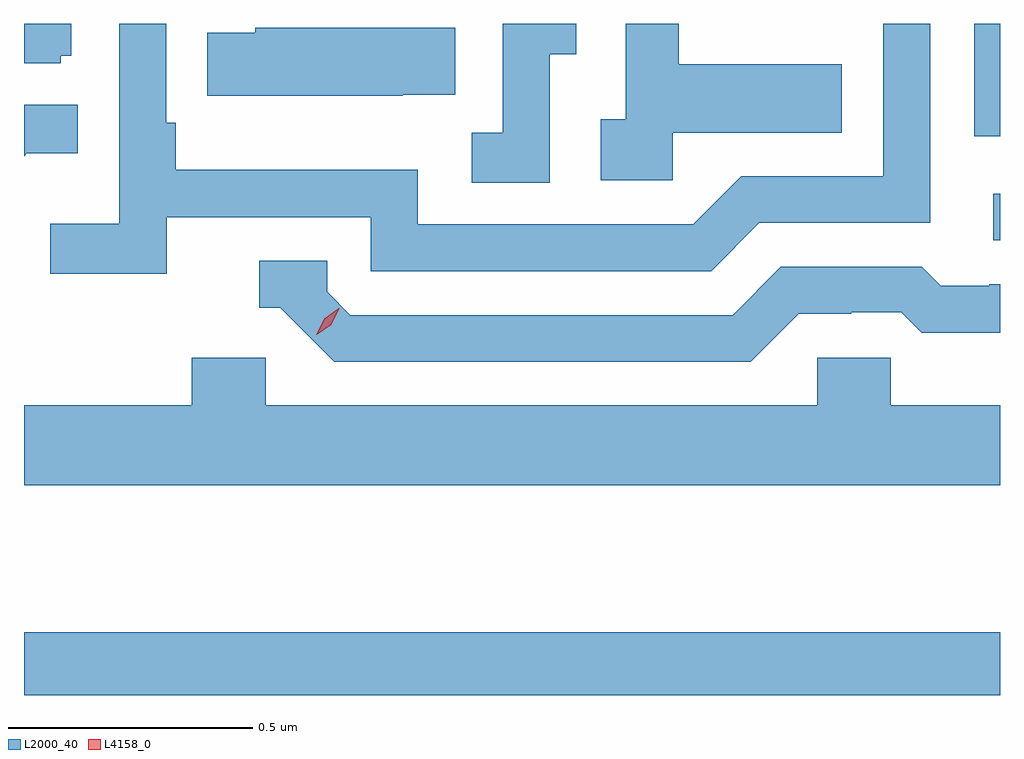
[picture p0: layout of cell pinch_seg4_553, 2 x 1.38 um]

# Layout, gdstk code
import gdstk
lib = gdstk.Library(unit=1e-6, precision=1e-09)
def R(c, l, rs):  # rectangles x0, y0, x1, y1
    for r in rs: c.add(gdstk.rectangle(r[:2], r[2:], *l))
def P(c, l, *ps):  # polygons
    for p in ps: c.add(gdstk.Polygon(p, *l))
L2000_40 = (2000, 40)
L4158_0 = (4158, 0)

pinch_seg4_553 = lib.new_cell('pinch_seg4_553')
R(pinch_seg4_553, L2000_40, [(1131.993,780.406,1133.993,780.535), (1133.979,781.338,1133.993,781.434), (1133.94,781.551,1133.993,781.782)])
P(pinch_seg4_553, L2000_40, [(1132.286,781.386),(1132.704,781.386),(1132.704,781.275),(1133.401,781.275),(1133.5,781.374),(1133.85,781.374),(1133.85,781.782),(1133.754,781.782),(1133.754,781.47),(1133.463,781.47),(1133.364,781.371),(1132.8,781.371),(1132.8,781.483),(1132.304,781.483),(1132.304,781.579),(1132.284,781.579),(1132.284,781.782),(1132.188,781.782),(1132.188,781.372),(1132.047,781.372),(1132.047,781.27),(1132.286,781.27)],
  [(1133.322,781.559),(1133.669,781.559),(1133.669,781.699),(1133.335,781.699),(1133.335,781.782),(1133.226,781.782),(1133.226,781.586),(1133.175,781.586),(1133.175,781.461),(1133.322,781.461)],
  [(1133.07,781.72),(1133.125,781.72),(1133.125,781.782),(1132.974,781.782),(1132.974,781.559),(1132.911,781.559),(1132.911,781.456),(1133.07,781.456)],
  [(1132.068,781.716),(1132.09,781.716),(1132.09,781.782),(1131.993,781.782),(1131.993,781.701),(1132.068,781.701)],
  [(1132.769,781.637),(1132.877,781.637),(1132.877,781.774),(1132.467,781.774),(1132.467,781.764),(1132.369,781.764),(1132.369,781.634),(1132.769,781.634)],
  [(1131.999,781.517),(1132.103,781.517),(1132.103,781.616),(1131.993,781.616),(1131.993,781.511)],
  [(1133.581,781.188),(1133.688,781.188),(1133.688,781.191),(1133.791,781.191),(1133.833,781.149),(1133.993,781.149),(1133.993,781.248),(1133.971,781.248),(1133.971,781.245),(1133.872,781.245),(1133.833,781.284),(1133.544,781.284),(1133.445,781.185),(1132.662,781.185),(1132.614,781.233),(1132.614,781.296),(1132.475,781.296),(1132.475,781.2),(1132.518,781.2),(1132.629,781.089),(1133.482,781.089)],
  [(1133.993,781),(1133.769,781),(1133.769,781.098),(1133.619,781.098),(1133.619,781),(1132.488,781),(1132.488,781.098),(1132.337,781.098),(1132.337,781),(1131.993,781),(1131.993,780.836),(1133.993,780.836)])
P(pinch_seg4_553, L4158_0, [(1132.592,781.145),(1132.592,781.145),(1132.608,781.178),(1132.638,781.199),(1132.639,781.199),(1132.639,781.198),(1132.623,781.165),(1132.593,781.145)])

lib.write_gds('pinch_seg4_553.gds')
